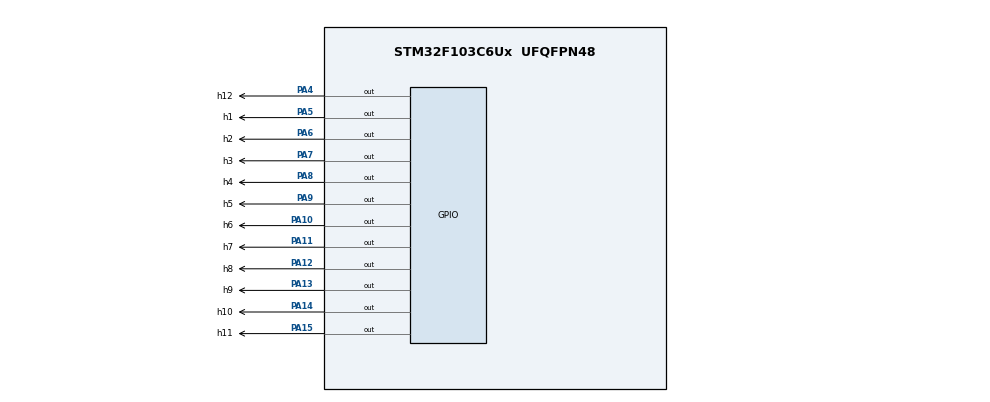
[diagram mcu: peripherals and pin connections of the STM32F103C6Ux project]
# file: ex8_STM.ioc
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Mcu.Family=STM32F1
Mcu.Name=STM32F103C6Ux
Mcu.Package=UFQFPN48
NVIC.PriorityGroup=NVIC_PRIORITYGROUP_4
PA10.GPIO_Label=h6
PA10.Signal=GPIO_Output
PA11.GPIO_Label=h7
PA11.Signal=GPIO_Output
PA12.GPIO_Label=h8
PA12.Signal=GPIO_Output
PA13.GPIO_Label=h9
PA13.Signal=GPIO_Output
PA14.GPIO_Label=h10
PA14.Signal=GPIO_Output
PA15.GPIO_Label=h11
PA15.Signal=GPIO_Output
PA4.GPIO_Label=h12
PA4.Signal=GPIO_Output
PA5.GPIO_Label=h1
PA5.Signal=GPIO_Output
PA6.GPIO_Label=h2
PA6.Signal=GPIO_Output
PA7.GPIO_Label=h3
PA7.Signal=GPIO_Output
PA8.GPIO_Label=h4
PA8.Signal=GPIO_Output
PA9.GPIO_Label=h5
PA9.Signal=GPIO_Output
ProjectManager.HeapSize=0x200
ProjectManager.StackSize=0x400
ProjectManager.TargetToolchain=STM32CubeIDE
RCC.APB1Freq_Value=8000000
RCC.APB2Freq_Value=8000000
VP_SYS_VS_ND.Mode=No_Debug
board=custom

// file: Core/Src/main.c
/* USER CODE BEGIN Header */
/**
  ******************************************************************************
  * @file           : main.c
  * @brief          : Main program body
  ******************************************************************************
  * @attention
  *
  * <h2><center>&copy; Copyright (c) 2022 STMicroelectronics.
  * All rights reserved.</center></h2>
  *
  * This software component is licensed by ST under BSD 3-Clause license,
  * the "License"; You may not use this file except in compliance with the
  * License. You may obtain a copy of the License at:
  *                        opensource.org/licenses/BSD-3-Clause
  *
  ******************************************************************************
  */
/* USER CODE END Header */
#include "main.h"

void SystemClock_Config(void);
static void MX_GPIO_Init(void);

/* USER CODE BEGIN 0 */
void clearAllClock(){
	  HAL_GPIO_WritePin(GPIOA, h12_Pin|h1_Pin|h2_Pin|h3_Pin
	                          |h4_Pin|h5_Pin|h6_Pin|h7_Pin
	                          |h8_Pin|h9_Pin|h10_Pin|h11_Pin, GPIO_PIN_SET);
}
void setNumberOnClock(int num){
	if(num==0){
		clearAllClock();
		HAL_GPIO_WritePin(h12_GPIO_Port, h12_Pin, RESET);
	}
	if(num==1){
		clearAllClock();
		HAL_GPIO_WritePin(h1_GPIO_Port, h1_Pin, RESET);
	}
	if(num==2){
		clearAllClock();
		HAL_GPIO_WritePin(h2_GPIO_Port, h2_Pin, RESET);
	}
	if(num==3){
		clearAllClock();
		HAL_GPIO_WritePin(h3_GPIO_Port, h3_Pin, RESET);
	}
	if(num==4){
		clearAllClock();
		HAL_GPIO_WritePin(h4_GPIO_Port, h4_Pin, RESET);
	}
	if(num==5){
		clearAllClock();
		HAL_GPIO_WritePin(h5_GPIO_Port, h5_Pin, RESET);
	}
	if(num==6){
		clearAllClock();
		HAL_GPIO_WritePin(h6_GPIO_Port, h6_Pin, RESET);
	}
	if(num==7){
		clearAllClock();
		HAL_GPIO_WritePin(h7_GPIO_Port, h7_Pin, RESET);
	}
	if(num==8){
		clearAllClock();
		HAL_GPIO_WritePin(h8_GPIO_Port, h8_Pin, RESET);
	}
	if(num==9){
		clearAllClock();
		HAL_GPIO_WritePin(h9_GPIO_Port, h9_Pin, RESET);
	}
	if(num==10){
		clearAllClock();
		HAL_GPIO_WritePin(h10_GPIO_Port, h10_Pin, RESET);
	}
	if(num==11){
		clearAllClock();
		HAL_GPIO_WritePin(h11_GPIO_Port, h11_Pin, RESET);
	}
}
/* USER CODE END 0 */

int main(void)
{

  /* MCU Configuration--------------------------------------------------------*/

  /* Reset of all peripherals, Initializes the Flash interface and the Systick. */
  HAL_Init();

  /* Configure the system clock */
  SystemClock_Config();

  /* Initialize all configured peripherals */
  MX_GPIO_Init();

  /* Infinite loop */
  /* USER CODE BEGIN WHILE */
  setNumberOnClock(11);
  while (1)
  {
    /* USER CODE END WHILE */

  }
}

void SystemClock_Config(void)
{
  RCC_OscInitTypeDef RCC_OscInitStruct = {0};
  RCC_ClkInitTypeDef RCC_ClkInitStruct = {0};

  /** Initializes the RCC Oscillators according to the specified parameters
  * in the RCC_OscInitTypeDef structure.
  */
  RCC_OscInitStruct.OscillatorType = RCC_OSCILLATORTYPE_HSI;
  RCC_OscInitStruct.HSIState = RCC_HSI_ON;
  RCC_OscInitStruct.HSICalibrationValue = RCC_HSICALIBRATION_DEFAULT;
  RCC_OscInitStruct.PLL.PLLState = RCC_PLL_NONE;
  if (HAL_RCC_OscConfig(&RCC_OscInitStruct) != HAL_OK)
  {
    Error_Handler();
  }
  /** Initializes the CPU, AHB and APB buses clocks
  */
  RCC_ClkInitStruct.ClockType = RCC_CLOCKTYPE_HCLK|RCC_CLOCKTYPE_SYSCLK
                              |RCC_CLOCKTYPE_PCLK1|RCC_CLOCKTYPE_PCLK2;
  RCC_ClkInitStruct.SYSCLKSource = RCC_SYSCLKSOURCE_HSI;
  RCC_ClkInitStruct.AHBCLKDivider = RCC_SYSCLK_DIV1;
  RCC_ClkInitStruct.APB1CLKDivider = RCC_HCLK_DIV1;
  RCC_ClkInitStruct.APB2CLKDivider = RCC_HCLK_DIV1;

  if (HAL_RCC_ClockConfig(&RCC_ClkInitStruct, FLASH_LATENCY_0) != HAL_OK)
  {
    Error_Handler();
  }
}

static void MX_GPIO_Init(void)
{
  GPIO_InitTypeDef GPIO_InitStruct = {0};

  /* GPIO Ports Clock Enable */
  __HAL_RCC_GPIOA_CLK_ENABLE();

  /*Configure GPIO pin Output Level */
  HAL_GPIO_WritePin(GPIOA, h12_Pin|h1_Pin|h2_Pin|h3_Pin
                          |h4_Pin|h5_Pin|h6_Pin|h7_Pin
                          |h8_Pin|h9_Pin|h10_Pin|h11_Pin, GPIO_PIN_RESET);

  /*Configure GPIO pins : h12_Pin h1_Pin h2_Pin h3_Pin
                           h4_Pin h5_Pin h6_Pin h7_Pin
                           h8_Pin h9_Pin h10_Pin h11_Pin */
  GPIO_InitStruct.Pin = h12_Pin|h1_Pin|h2_Pin|h3_Pin
                          |h4_Pin|h5_Pin|h6_Pin|h7_Pin
                          |h8_Pin|h9_Pin|h10_Pin|h11_Pin;
  GPIO_InitStruct.Mode = GPIO_MODE_OUTPUT_PP;
  GPIO_InitStruct.Pull = GPIO_NOPULL;
  GPIO_InitStruct.Speed = GPIO_SPEED_FREQ_LOW;
  HAL_GPIO_Init(GPIOA, &GPIO_InitStruct);

}

void Error_Handler(void)
{
  __disable_irq();
  while (1)
  {
  }
}

/************************ (C) COPYRIGHT STMicroelectronics *****END OF FILE****/
